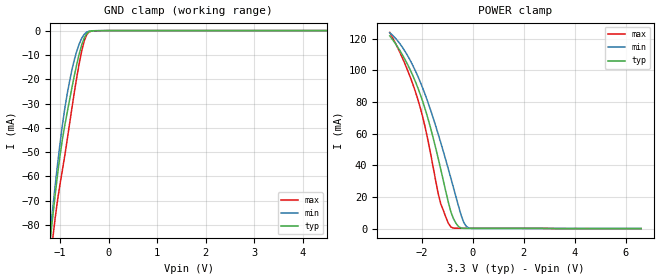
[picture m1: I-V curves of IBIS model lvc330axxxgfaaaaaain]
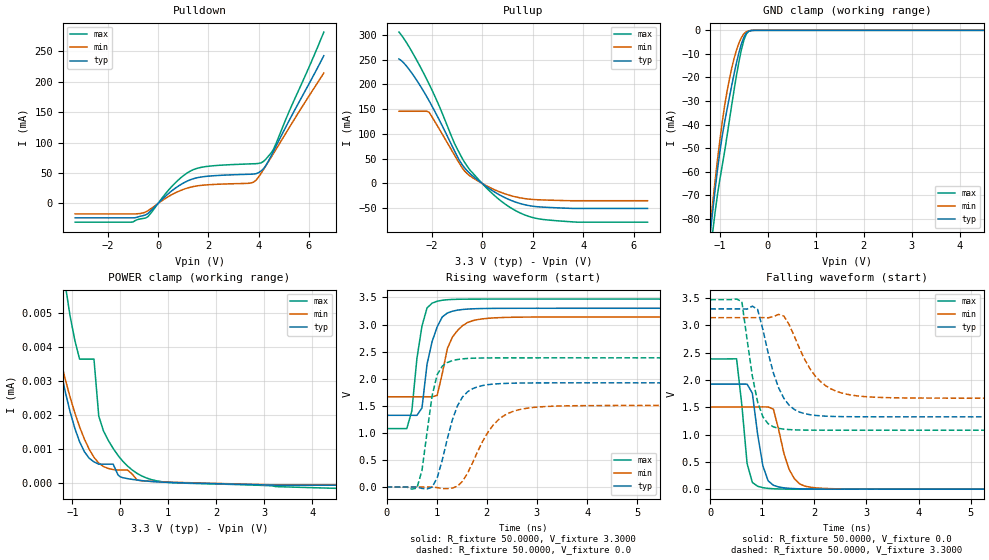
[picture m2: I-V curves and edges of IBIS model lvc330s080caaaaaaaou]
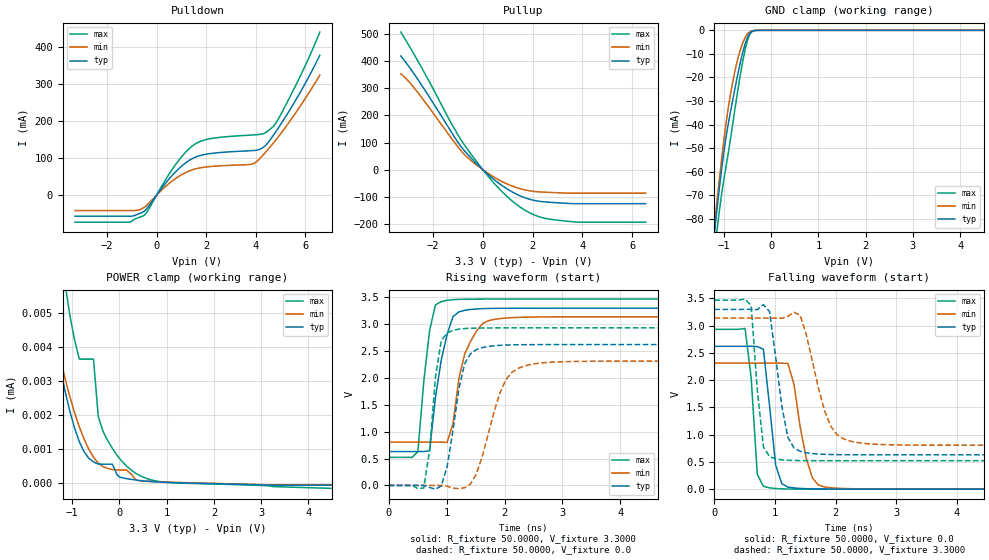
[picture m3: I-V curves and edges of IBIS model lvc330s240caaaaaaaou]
| IBIS Models Generator: Lattice Diamond (64-bit) 3.13.0.56.2
| Generate date: Tue Aug 27 18:32:58 2024
| IBIS File LibisMaker.ibs
| LibisGen v2.0.1.0, 02/25/2008, Lattice Semiconductor Corporation
| Modified by LibisMaker v2.0.1.0, 02/25/2008, Lattice Semiconductor
| North Carolina State University, ERL, 2006
[IBIS ver]   3.2
[File Name]   FipsyBaseline_Imple~.ibs
[File Rev]   3.6
[Date]   Thu Aug  3 04:51:03 PDT 2023
[Source]   Lattice Semiconductor cs200fl Process
   LCMXO2-1200HC   FINAL
   Lattice Semiconductor has worked hard to ensure the
   models below are accurate and complete.  However, the
   data below was generated using simulation of the
   input/output model files for the silicon.  Therefore,
   the data below is for reference and initial design
   purposes only.
   Lattice Semiconductor grants permission to use this
   data for use in printed circuit design using this
   Lattice programmable logic device.  Other use of this
   code, including the selling or duplication of any
   portion is strictly prohibited.
|   NAMING CONVENTION
   The IBIS [Model] header is limited by the specification to a
   total of characters.  With such a set of characters available
   for naming models it becomes important to attempt to
   meaningfully encode the IO standards so they fit within the
   twenty character limit.  It would seem that twenty characters
   would provide room enough for describing IO's.  However, the
   PLD IO structure continues to grow more and more complex.  The
   complexity is making the twenty characters insuffiently
   descriptive.  In order to overcome this issue the naming
   convention described below is implemented to resolve the issue.
The twenty character space is managed as follows:
   bbbvvvsdddprugtcoixx
   b = standard
   v = voltage (x.xx V)
   s = slew code
   d = drive (xx.x ma)
   p = pullup code
   r = series resistance  or bank_vccio code
   u = terminate to vcc code
   g = terminate to gnd code
   t = terminate to vtt code
   c = common mode termination mode
   o = diff resistor code
   i = diff resistor current code
   x = reserved
   standard
   lvcmos   lvc
   lvcmosd   lvd
   lvcmosr   lvr
   lvds25e   lve
   lvttl   lvt
   lvttld   ltd
   pci   pci
   sstl_I   ss1
   sstl_II   ss2
   sstld_I   s1d
   sstld_II   s2d
   hstl_i   hs1
   hstl_ii   hs2
   hstld_i   h1d
   hstld_ii   h2d
   lvds25   lvs
   blvds25   blv
   blvds25e   blv
   mlvds25   mlv
   mlvds25e   mlv
   lvpecl33   lvp
   lvpecl33e   lvp
   rsds25   rsd
   rsds25e   rse
   mipi   mip
   mipi_lp   mip
   vref1   vr1
   vref2   vr2
   ref_res   rer
   slew
   na   a
   fast   f
   slow   s
   pullmode
   off   a
   pullup   b
   pulldown   c
   bushold   d
   clamp   e
   up_clamp   f
   down_clamp   g
   keeper_clamp   h
   impedance or Bank_vccio
   off   a
   25   b
   33   c
   50   d
   100   e
   3.3   f
   2.5   g
   1.8   h
   1.5   i
   1.2   j
   termVCC
   off   a
   50   b
   100   c
   120   d
   termGND
   off   a
   50   b
   100   c
   120   d
   termVTT
   off   a
   60   b
   75   c
   120   d
   150   e
   210   f
   VCMT
   off   a
   VCMT   b
   VTT   c
   DDR-2   d
   differential resistor
   off   a
   100   b
   diff drive
   NA   a
   2.0   b
   3.5   c
   1.25   f
   2.5   g
   Reserved   IO type
   in   input only
   ou   output
   io   I/O
   od   Open drain
   on   Inverting differential I/O
   (signal name only)
   op   Non-Inverting differential I/O
   (signal name only)
   Lattice Semiconductor Corporation
   5555 NE Moore Court
   Hillsboro, OR 97214
   U.S.A
   TEL: 1-800-Lattice (USA and Canada)
   408-826-6000 (other locations)
   web: http://www.latticesemi.com/
   email: techsupport@latticesemi.com
[Disclaimer] This IBIS source code is intended as a design reference
   which illustrates how the Lattice Semiconductor device operates.
   It is the user's responsibility to verify their design for
   consistency and functionality through the use of formal
   verification methods.  Lattice Semiconductor provides no warranty
   regarding the use or functionality of this data.
[Copyright]   Copyright 2007 by Lattice Semiconductor Corporation
|   Component XO2
[Component]   XO2
[Manufacturer]   Lattice Semiconductor Corp.
[Package]
|QFN32
| variable   typ   min   max
 R_pkg   147m   124m   184m
 L_pkg   1.31nH   1.13nH   1.66nH
 C_pkg   0.188pF   0.17pF   0.22pF
[Pin] signal_name   model_name   R_pin   L_pin   C_pin
25   LEDn   lvc330s240caaaaaaaou
14   PIN10   lvc330axxxgfaaaaaain
5   PIN11   lvc330s080caaaaaaaou
4   PIN12   lvc330s080caaaaaaaou
20   PIN13   lvc330s080caaaaaaaou
21   PIN14   lvc330s080caaaaaaaou
27   PIN17   lvc330s080caaaaaaaou
28   PIN18   lvc330s080caaaaaaaou
8   PIN19   lvc330s080caaaaaaaou
23   PIN20   lvc330s080caaaaaaaou
11   PIN7   lvc330s080caaaaaaaou
12   PIN8   lvc330s080caaaaaaaou
13   PIN9   lvc330s080caaaaaaaou
| Models and submodels in the file (3): lvc330axxxgfaaaaaain (Input), lvc330s080caaaaaaaou (Output), lvc330s240caaaaaaaou (Output)
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[Model]   lvc330axxxgfaaaaaain
Model_type   Input
Polarity   Non-Inverting
Enable   Active-Low
Vinl =   0.8000V
Vinh =   2.0000V
C_comp   4.2000pF   3.8000pF   7.5000pF
[Temperature Range]   25.0000   0.1250k   -40.0000
[Voltage Range]   3.3000V   3.1400V   3.4700V
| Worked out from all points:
|   GND clamp passes 1 mA (typ) near -0.43 V on its own axis
|   POWER clamp passes 1 mA (typ) near -0.53 V on its own axis
[GND_clamp]
|Voltage   I(typ)   I(min)   I(max)
-3.3V     -955.3mA   -930.3mA   -978mA
-1.2V     -86.21mA   -82.95mA   -94.94mA
-1.15V    -76.76mA   -73.31mA   -85.77mA
-1.1V     -67.73mA   -63.97mA   -77.32mA
-1V       -51.54mA   -46.59mA   -63.26mA
-900mV    -38.9mA    -31.9mA    -51.31mA
-800mV    -28.29mA   -20.61mA   -38.02mA
-700mV    -18.14mA   -11.66mA   -24.86mA
-600mV    -9.315mA   -5.302mA   -13.12mA
-450mV    -1.255mA   -637uA     -1.701mA
0V        0A         0A         0A
6.6V      0A         0A         0A
[POWER_clamp]
|Voltage   I(typ)   I(min)   I(max)
-3.25V    121.9mA    123.9mA    124.1mA
-2.65V    106.9mA    112.1mA    104.1mA
-2.35V    96.95mA    103.3mA    91.59mA
-2.05V    84.73mA    92.58mA    76.25mA
-1.65V    63.65mA    75mA       47.49mA
-1.35V    44.31mA    59.69mA    21.99mA
-1.25V    37.38mA    54.28mA    15.6mA
-850mV    10.32mA    31.58mA    939uA
-650mV    3.193mA    19.74mA    210uA
-350mV    132.1uA    3.862mA    199.7uA
-150mV    104.6uA    375.8uA    197.7uA
6.6V      -56.35nA   -1.463uA   -71.55uA
[Model]   lvc330s080caaaaaaaou
Model_type   Output
Polarity   Non-Inverting
Enable   Active-Low
Vmeas =   1.500000V
Cref =   0.0F
Rref =   1.0000M
Vref =   0.0V
C_comp   4.2000pF   3.8000pF   7.5000pF
[Temperature Range]   25.0000   0.1250k   -40.0000
[Voltage Range]   3.3000V   3.1400V   3.4700V
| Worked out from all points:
|   slope of the pulldown table from 0 to 0.495 V, typ, clamps not added: 26 ohm
|   slope of the pullup table from 0 to 0.495 V, typ, clamps not added: 28.5 ohm
|   GND clamp passes 1 mA (typ) near -0.44 V on its own axis
|   rising waveform, R_fixture 50.0000, V_fixture 3.3000: 20-80 % time 251ps typ, 301ps min, 192ps max; typ from 1.32 V to 3.3 V
|   rising waveform, R_fixture 50.0000, V_fixture 0.0: 20-80 % time 363ps typ, 551ps min, 235ps max; typ from 0 V to 1.92 V
|   falling waveform, R_fixture 50.0000, V_fixture 0.0: 20-80 % time 188ps typ, 267ps min, 144ps max; typ from 1.92 V to 0 V
|   falling waveform, R_fixture 50.0000, V_fixture 3.3000: 20-80 % time 370ps typ, 535ps min, 253ps max; typ from 3.3 V to 1.32 V
[Pulldown]
|Voltage   I(typ)   I(min)   I(max)
-3.3V     -23.68mA   -17.2mA    -30.83mA
-1.1V     -23.68mA   -17.2mA    -30.83mA
-500mV    -18.89mA   -14.22mA   -24.07mA
-400mV    -16.44mA   -11.92mA   -21.58mA
600mV     22.43mA    15.62mA    30.22mA
1.3V      39.15mA    26.81mA    53.52mA
2V        44.82mA    30.69mA    61.1mA
3.7V      48.02mA    33.59mA    65.1mA
3.9V      48.94mA    38.13mA    65.35mA
4.2V      57.11mA    55.89mA    69.15mA
4.6V      86.19mA    82.47mA    89.45mA
6.6V      242.9mA    214.5mA    281.7mA
[Pullup]
|Voltage   I(typ)   I(min)   I(max)
-3.3V     251.3mA    145.8mA    305.6mA
-2.8V     223.5mA    145.8mA    267.3mA
-2.1V     166.4mA    143.5mA    200mA
-1.7V     127.9mA    109.7mA    155.7mA
-1.1V     65.82mA    57.34mA    80.93mA
-700mV    31.56mA    25.14mA    42.75mA
100mV     -3.836mA   -2.847mA   -5.414mA
800mV     -26.11mA   -19.07mA   -37.53mA
1.5V      -40.43mA   -28.94mA   -59.42mA
2.3V      -47.34mA   -33.02mA   -71.88mA
3.8V      -50.39mA   -34.76mA   -78.11mA
6.55V     -50.39mA   -34.76mA   -78.11mA
[GND_clamp]
|Voltage   I(typ)   I(min)   I(max)
-3.3V     -955.3mA   -930.3mA   -978mA
-1.2V     -86.18mA   -82.93mA   -94.91mA
-1.15V    -76.73mA   -73.29mA   -85.74mA
-1.1V     -67.71mA   -63.95mA   -77.28mA
-1V       -51.52mA   -46.57mA   -63.21mA
-900mV    -38.87mA   -31.88mA   -51.26mA
-800mV    -28.25mA   -20.58mA   -37.97mA
-700mV    -18.1mA    -11.63mA   -24.81mA
-600mV    -9.267mA   -5.265mA   -13.06mA
-450mV    -1.181mA   -586.6uA   -1.592mA
-250mV    -3.532uA   -4.055uA   -3.003uA
6.6V      0A         0A         0A
[POWER_clamp]
|Voltage   I(typ)   I(min)   I(max)
-3.25V    664.8uA    749.4uA    597.1uA
-1.55V    5.914uA    5.712uA    11.4uA
-1.45V    4.987uA    4.974uA    9.751uA
-1.15V    2.703uA    3.073uA    5.863uA
-850mV    1.226uA    1.662uA    3.655uA
-550mV    631.3nA    766.5nA    3.655uA
-450mV    563.6nA    595.5nA    1.977uA
-150mV    563.6nA    404.4nA    1.026uA
0V        190.5nA    391.2nA    734.7nA
450mV     79.23nA    72.94nA    213.9nA
950mV     30.32nA    38.42nA    33.55nA
6.6V      -57.56nA   -49.34nA   -232.5nA
[Ramp]
| variable   typ   min   max
dV/dt_r  1.1542/0.3590n   0.9035/0.5460n   1.4308/0.2329n
dV/dt_f  1.1855/0.3662n   0.8843/0.5297n   1.4345/0.2507n
R_load = 50.0000
[Rising Waveform]
R_fixture=   50.0000
V_fixture=   3.3000
V_fixture_min=   3.1400
V_fixture_max=   3.4700
|time   V(typ)   V(min)   V(max)
0s        1.324V     1.666V     1.079V
404ps     1.324V     1.666V     1.079V
505.1ps   1.324V     1.666V     1.407V
606.1ps   1.323V     1.666V     2.373V
707.1ps   1.46V      1.666V     2.973V
808.1ps   2.269V     1.667V     3.306V
1.01ns    2.956V     1.691V     3.43V
1.313ns   3.246V     2.765V     3.463V
1.818ns   3.293V     3.091V     3.469V
10ns      3.3V       3.14V      3.47V
[Rising Waveform]
R_fixture=   50.0000
V_fixture=   0.0
V_fixture_min=   0.0
V_fixture_max=   0.0
|time   V(typ)   V(min)   V(max)
0s        830nV      1.065uV    812.2nV
606.1ps   -647.3uV   2.343uV    -19.28mV
707.1ps   -25.56mV   18.24uV    307.2mV
909.1ps   -1.644mV   -352.6uV   1.685V
1.01ns    168.3mV    -10.05mV   2.075V
1.313ns   1.24V      -19.03mV   2.334V
1.717ns   1.816V     450.2mV    2.378V
2.121ns   1.9V       1.136V     2.384V
2.727ns   1.921V     1.444V     2.385V
10ns      1.924V     1.506V     2.385V
[Falling Waveform]
R_fixture=   50.0000
V_fixture=   0.0
V_fixture_min=   0.0
V_fixture_max=   0.0
|time   V(typ)   V(min)   V(max)
0s        1.924V     1.506V     2.385V
505.1ps   1.924V     1.506V     2.387V
707.1ps   1.923V     1.506V     469.1mV
808.1ps   1.757V     1.506V     123.1mV
1.01ns    427.9mV    1.507V     27.45mV
1.212ns   71.02mV    1.464V     7.412mV
1.414ns   24.43mV    655.3mV    2.129mV
1.616ns   9.884mV    189mV      652.9uV
1.919ns   2.628mV    35.9mV     184.5uV
10ns      -6.753uV   -8.585uV   -14.06uV
[Falling Waveform]
R_fixture=   50.0000
V_fixture=   3.3000
V_fixture_min=   3.1400
V_fixture_max=   3.4700
|time   V(typ)   V(min)   V(max)
0s        3.3V       3.14V      3.47V
606.1ps   3.3V       3.14V      3.436V
808.1ps   3.351V     3.14V      2.072V
909.1ps   3.292V     3.14V      1.597V
1.111ns   2.497V     3.138V     1.198V
1.313ns   1.855V     3.2V       1.113V
1.616ns   1.458V     2.796V     1.086V
2.02ns    1.35V      2.067V     1.08V
2.626ns   1.327V     1.737V     1.079V
10ns      1.324V     1.666V     1.079V
[Model]   lvc330s240caaaaaaaou
Model_type   Output
Polarity   Non-Inverting
Enable   Active-Low
Vmeas =   1.6500V
Cref =   0.0F
Rref =   1.0000M
Vref =   0.0V
C_comp   4.2000pF   3.8000pF   7.5000pF
[Temperature Range]   25.0000   0.1250k   -40.0000
[Voltage Range]   3.3000V   3.1400V   3.4700V
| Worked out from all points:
|   slope of the pulldown table from 0 to 0.495 V, typ, clamps not added: 11.5 ohm
|   slope of the pullup table from 0 to 0.495 V, typ, clamps not added: 12.5 ohm
|   GND clamp passes 1 mA (typ) near -0.44 V on its own axis
|   rising waveform, R_fixture 50.0000, V_fixture 3.3000: 20-80 % time 239ps typ, 284ps min, 164ps max; typ from 0.63 V to 3.3 V
|   rising waveform, R_fixture 50.0000, V_fixture 0.0: 20-80 % time 241ps typ, 381ps min, 160ps max; typ from 0 V to 2.62 V
|   falling waveform, R_fixture 50.0000, V_fixture 0.0: 20-80 % time 149ps typ, 223ps min, 117ps max; typ from 2.62 V to 0 V
|   falling waveform, R_fixture 50.0000, V_fixture 3.3000: 20-80 % time 205ps typ, 328ps min, 138ps max; typ from 3.3 V to 0.63 V
[Pulldown]
|Voltage   I(typ)   I(min)   I(max)
-3.3V     -56.93mA   -41.75mA   -73.18mA
-1.1V     -56.93mA   -41.75mA   -73.18mA
-600mV    -47.24mA   -37.04mA   -57.86mA
-400mV    -36.86mA   -27.43mA   -46.9mA
800mV     65.24mA    46.38mA    85.71mA
1.5V      100.7mA    69.7mA     135.7mA
2.2V      112.6mA    77.41mA    153mA
3.9V      120.5mA    84.82mA    162.6mA
4.5V      141.5mA    123.4mA    173.4mA
4.8V      169.6mA    147.5mA    192.3mA
5.1V      199.9mA    173.4mA    227.9mA
6.6V      378.1mA    324.7mA    440.9mA
[Pullup]
|Voltage   I(typ)   I(min)   I(max)
-3.3V     419.7mA    353.5mA    507.6mA
-2.7V     344.5mA    294.3mA    414.5mA
-1.3V     143.5mA    120.4mA    175.8mA
-800mV    76.04mA    61.31mA    99.18mA
-300mV    26.81mA    20.74mA    35.83mA
400mV     -32.67mA   -24.69mA   -44.68mA
900mV     -66.59mA   -49.53mA   -92.73mA
1.3V      -87.89mA   -64.44mA   -124.5mA
2V        -111.9mA   -79.57mA   -164.2mA
2.7V      -120.2mA   -83.87mA   -182.6mA
3.8V      -125.4mA   -86.65mA   -193.5mA
6.55V     -125.4mA   -86.65mA   -193.7mA
[GND_clamp]
|Voltage   I(typ)   I(min)   I(max)
-3.3V     -955.3mA   -930.3mA   -978mA
-1.2V     -86.18mA   -82.93mA   -94.91mA
-1.15V    -76.73mA   -73.29mA   -85.74mA
-1.1V     -67.71mA   -63.95mA   -77.28mA
-1V       -51.52mA   -46.57mA   -63.21mA
-900mV    -38.87mA   -31.88mA   -51.26mA
-800mV    -28.25mA   -20.58mA   -37.97mA
-700mV    -18.1mA    -11.63mA   -24.81mA
-600mV    -9.267mA   -5.265mA   -13.06mA
-450mV    -1.181mA   -586.6uA   -1.592mA
-250mV    -3.532uA   -4.055uA   -3.003uA
6.6V      0A         0A         0A
[POWER_clamp]
|Voltage   I(typ)   I(min)   I(max)
-3.25V    664.8uA    749.4uA    597.1uA
-1.55V    5.915uA    5.713uA    11.4uA
-1.45V    4.988uA    4.975uA    9.752uA
-1.15V    2.704uA    3.074uA    5.864uA
-850mV    1.227uA    1.662uA    3.655uA
-550mV    632.1nA    767.3nA    3.655uA
-450mV    564.4nA    596.3nA    1.977uA
-150mV    564.4nA    405.1nA    1.026uA
0V        190.5nA    391.9nA    734.7nA
450mV     79.23nA    72.94nA    213.9nA
950mV     30.32nA    38.42nA    33.55nA
6.6V      -57.56nA   -49.34nA   -232.5nA
[Ramp]
| variable   typ   min   max
dV/dt_r  1.5736/0.2383n   1.3885/0.3774n   1.7602/0.1582n
dV/dt_f  1.6018/0.2035n   1.4002/0.3250n   1.7683/0.1365n
R_load = 50.0000
[Rising Waveform]
R_fixture=   50.0000
V_fixture=   3.3000
V_fixture_min=   3.1400
V_fixture_max=   3.4700
|time   V(typ)   V(min)   V(max)
0s        630.4mV    806.4mV    522.7mV
505.1ps   630.4mV    806.4mV    627.7mV
707.1ps   648mV      806.4mV    2.886V
808.1ps   1.637V     806.6mV    3.361V
909.1ps   2.339V     805.7mV    3.424V
1.111ns   3.143V     1.147V     3.459V
1.212ns   3.231V     1.991V     3.464V
1.313ns   3.26V      2.448V     3.467V
1.717ns   3.295V     3.065V     3.47V
10ns      3.3V       3.14V      3.47V
[Rising Waveform]
R_fixture=   50.0000
V_fixture=   0.0
V_fixture_min=   0.0
V_fixture_max=   0.0
|time   V(typ)   V(min)   V(max)
0s        401.5nV    548nV      376.4nV
606.1ps   -996.4uV   1.903uV    -49.11mV
808.1ps   -69.74mV   35.14uV    2.014V
909.1ps   -12.04mV   -665.6uV   2.7V
1.111ns   1.028V     -51.28mV   2.888V
1.313ns   2.272V     -42.1mV    2.921V
1.414ns   2.454V     27.78mV    2.927V
2.02ns    2.613V     1.964V     2.933V
2.424ns   2.621V     2.246V     2.934V
10ns      2.623V     2.314V     2.934V
[Falling Waveform]
R_fixture=   50.0000
V_fixture=   0.0
V_fixture_min=   0.0
V_fixture_max=   0.0
|time   V(typ)   V(min)   V(max)
0s        2.623V     2.314V     2.934V
505.1ps   2.623V     2.314V     2.95V
606.1ps   2.624V     2.314V     2.045V
707.1ps   2.618V     2.314V     271.6mV
808.1ps   2.569V     2.314V     53.37mV
1.01ns    444.4mV    2.316V     12.03mV
1.212ns   37.3mV     2.308V     3.037mV
1.515ns   8.564mV    570.8mV    402.1uV
1.818ns   2.036mV    39.47mV    101.5uV
10ns      15.97uV    1.318uV    6.3uV
[Falling Waveform]
R_fixture=   50.0000
V_fixture=   3.3000
V_fixture_min=   3.1400
V_fixture_max=   3.4700
|time   V(typ)   V(min)   V(max)
0s        3.3V       3.14V      3.47V
606.1ps   3.301V     3.14V      3.368V
808.1ps   3.387V     3.14V      779.3mV
909.1ps   3.259V     3.14V      598.5mV
1.01ns    2.427V     3.142V     554.8mV
1.212ns   948.8mV    3.174V     530.7mV
1.313ns   756.2mV    3.247V     526.9mV
1.919ns   635.8mV    1.157V     522.9mV
2.222ns   631.7mV    887.6mV    522.8mV
10ns      630.4mV    806.4mV    522.8mV
